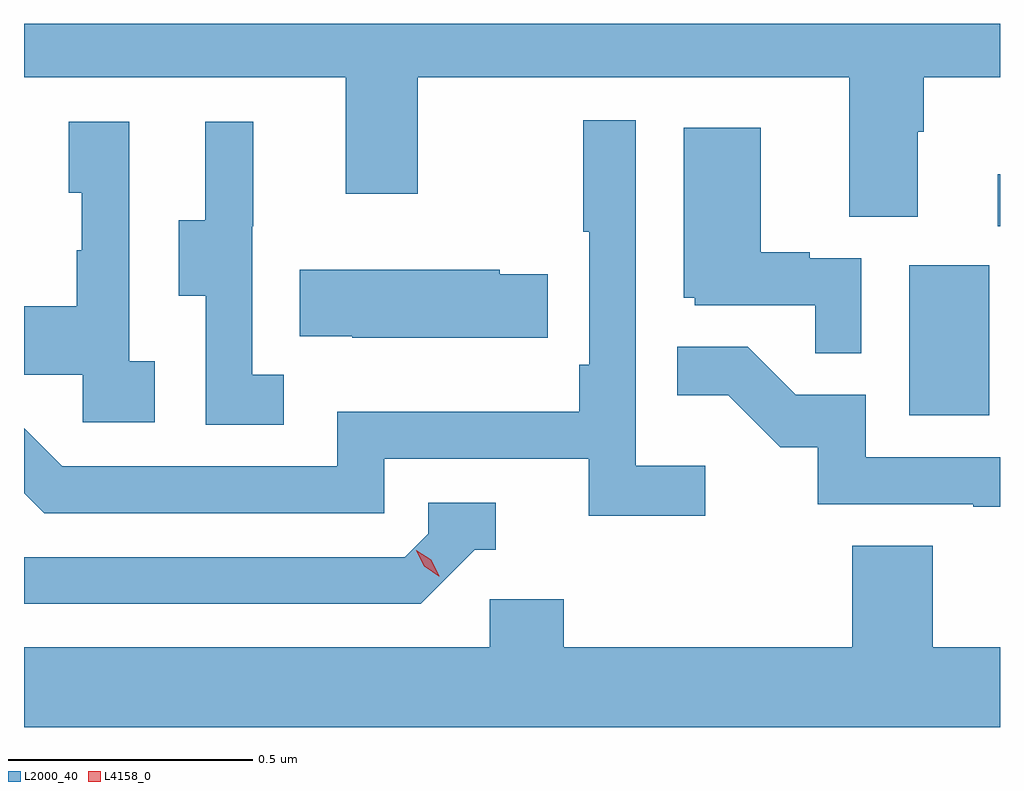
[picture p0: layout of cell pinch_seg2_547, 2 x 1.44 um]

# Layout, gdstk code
import gdstk
lib = gdstk.Library(unit=1e-6, precision=1e-09)
def R(c, l, rs):  # rectangles x0, y0, x1, y1
    for r in rs: c.add(gdstk.rectangle(r[:2], r[2:], *l))
def P(c, l, *ps):  # polygons
    for p in ps: c.add(gdstk.Polygon(p, *l))
L2000_40 = (2000, 40)
L4158_0 = (4158, 0)

pinch_seg2_547 = lib.new_cell('pinch_seg2_547')
R(pinch_seg2_547, L2000_40, [(1140.83,624.3,1140.994,624.607), (1141.011,624.687,1141.016,624.793)])
P(pinch_seg2_547, L2000_40, [(1140.847,624.88),(1140.86,624.88),(1140.86,624.992),(1141.016,624.992),(1141.016,625.102),(1139.016,625.102),(1139.016,624.992),(1139.675,624.992),(1139.675,624.753),(1139.823,624.753),(1139.823,624.992),(1140.707,624.992),(1140.707,624.706),(1140.847,624.706)],
  [(1140.412,624.196),(1140.27,624.196),(1140.27,624.904),(1140.162,624.904),(1140.162,624.676),(1140.174,624.676),(1140.174,624.403),(1140.154,624.403),(1140.154,624.307),(1139.658,624.307),(1139.658,624.195),(1139.094,624.195),(1139.016,624.273),(1139.016,624.14),(1139.057,624.099),(1139.754,624.099),(1139.754,624.21),(1140.173,624.21),(1140.173,624.094),(1140.412,624.094)],
  [(1139.284,624.41),(1139.232,624.41),(1139.232,624.901),(1139.108,624.901),(1139.108,624.756),(1139.134,624.756),(1139.134,624.638),(1139.124,624.638),(1139.124,624.523),(1139.016,624.523),(1139.016,624.383),(1139.136,624.383),(1139.136,624.285),(1139.284,624.285)],
  [(1139.548,624.383),(1139.484,624.383),(1139.484,624.687),(1139.486,624.687),(1139.486,624.901),(1139.387,624.901),(1139.387,624.699),(1139.333,624.699),(1139.333,624.544),(1139.388,624.544),(1139.388,624.28),(1139.548,624.28)],
  [(1140.732,624.621),(1140.626,624.621),(1140.626,624.634),(1140.526,624.634),(1140.526,624.889),(1140.368,624.889),(1140.368,624.54),(1140.39,624.54),(1140.39,624.525),(1140.637,624.525),(1140.637,624.427),(1140.732,624.427)],
  [(1140.089,624.588),(1139.991,624.588),(1139.991,624.598),(1139.581,624.598),(1139.581,624.461),(1139.689,624.461),(1139.689,624.458),(1140.089,624.458)],
  [(1141.016,624.213),(1140.741,624.213),(1140.741,624.342),(1140.597,624.342),(1140.499,624.44),(1140.355,624.44),(1140.355,624.341),(1140.459,624.341),(1140.566,624.234),(1140.643,624.234),(1140.643,624.117),(1140.961,624.117),(1140.961,624.112),(1141.016,624.112)],
  [(1139.94,624.024),(1139.983,624.024),(1139.983,624.12),(1139.844,624.12),(1139.844,624.057),(1139.796,624.009),(1139.016,624.009),(1139.016,623.913),(1139.829,623.913)],
  [(1141.016,623.824),(1140.878,623.824),(1140.878,624.032),(1140.713,624.032),(1140.713,623.824),(1140.122,623.824),(1140.122,623.922),(1139.97,623.922),(1139.97,623.824),(1139.016,623.824),(1139.016,623.66),(1141.016,623.66)])
P(pinch_seg2_547, L4158_0, [(1139.866,623.97),(1139.836,623.99),(1139.82,624.022),(1139.82,624.023),(1139.82,624.023),(1139.851,624.003),(1139.867,623.971),(1139.867,623.97)])

lib.write_gds('pinch_seg2_547.gds')
